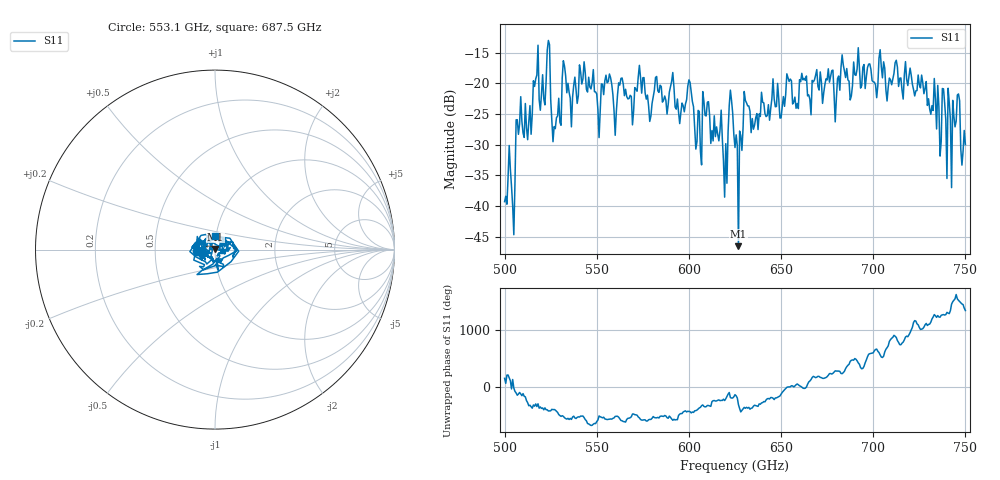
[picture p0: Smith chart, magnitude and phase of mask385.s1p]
!Created with skrf (http://scikit-rf.org).
# GHz S MA R 50.0
!freq magS11 angS11
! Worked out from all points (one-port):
!   401 points, 500 GHz to 750 GHz, reference 50 ohm
!   lowest |S11| = -46.5 dB at 626.9 GHz (marker M1), VSWR 1.01, Z = 50.3 + j0.39 ohm
!   |S11| at or under -10 dB: start of sweep to end of sweep
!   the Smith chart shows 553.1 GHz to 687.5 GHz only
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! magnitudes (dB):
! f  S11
! 500 GHz  -39.3
! 504.4 GHz  -40.0
! 507.5 GHz  -28.3
! 513.8 GHz  -23.6
! 516.9 GHz  -19.3
! 520.6 GHz  -18.6
! 523.8 GHz  -13.0
! 526.9 GHz  -27.0
! 531.2 GHz  -19.1
! 550.6 GHz  -24.2
! 556.2 GHz  -19.7
! 560 GHz  -28.5
! 562.5 GHz  -20.3
! 593.8 GHz  -22.5
! 600.6 GHz  -19.8
! 605.6 GHz  -24.6
! 608.8 GHz  -25.2
! 619.4 GHz  -38.6
! 622.5 GHz  -21.1
! 625 GHz  -30.5
! 626.9 GHz  -46.5
! 631.2 GHz  -23.2
! 656.2 GHz  -23.4
! 687.5 GHz  -22.7
! 718.8 GHz  -20.3
! 741.2 GHz  -23.2
! 745.6 GHz  -21.9
! 750 GHz  -30.0
